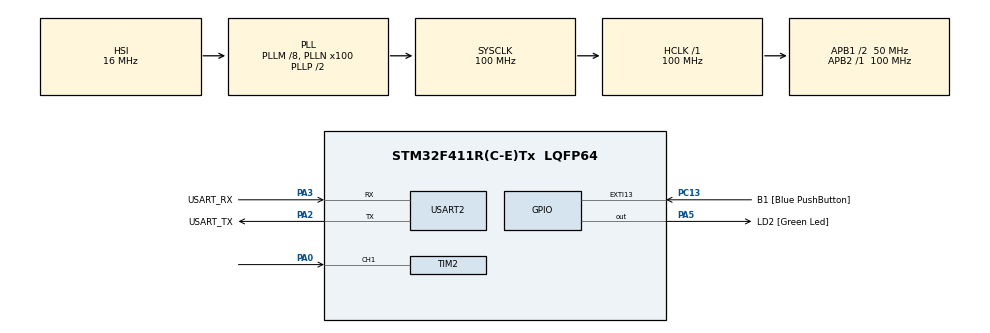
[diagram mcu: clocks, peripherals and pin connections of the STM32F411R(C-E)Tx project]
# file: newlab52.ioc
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Dma.Request0=TIM2_CH1
Dma.TIM2_CH1.0.Direction=DMA_PERIPH_TO_MEMORY
Dma.TIM2_CH1.0.FIFOMode=DMA_FIFOMODE_DISABLE
Dma.TIM2_CH1.0.Instance=DMA1_Stream5
Dma.TIM2_CH1.0.MemDataAlignment=DMA_MDATAALIGN_HALFWORD
Dma.TIM2_CH1.0.MemInc=DMA_MINC_ENABLE
Dma.TIM2_CH1.0.Mode=DMA_CIRCULAR
Dma.TIM2_CH1.0.PeriphDataAlignment=DMA_PDATAALIGN_HALFWORD
Dma.TIM2_CH1.0.PeriphInc=DMA_PINC_DISABLE
Dma.TIM2_CH1.0.Priority=DMA_PRIORITY_LOW
Mcu.Family=STM32F4
Mcu.Name=STM32F411R(C-E)Tx
Mcu.Package=LQFP64
NVIC.DMA1_Stream5_IRQn=true\:0\:0\:false\:false\:true\:false\:true
NVIC.PriorityGroup=NVIC_PRIORITYGROUP_0
NVIC.TIM5_IRQn=true\:0\:0\:false\:false\:true\:true\:true
PA0-WKUP.Signal=S_TIM2_CH1_ETR
PA13.GPIO_Label=TMS
PA13.Mode=Serial_Wire
PA13.Signal=SYS_JTMS-SWDIO
PA14.GPIO_Label=TCK
PA14.Mode=Serial_Wire
PA14.Signal=SYS_JTCK-SWCLK
PA2.GPIO_Label=USART_TX
PA2.Mode=Asynchronous
PA2.Signal=USART2_TX
PA3.GPIO_Label=USART_RX
PA3.Mode=Asynchronous
PA3.Signal=USART2_RX
PA5.GPIO_Label=LD2 [Green Led]
PA5.Signal=GPIO_Output
PB3.GPIO_Label=SWO
PB3.Signal=SYS_JTDO-SWO
PC13-ANTI_TAMP.GPIO_Label=B1 [Blue PushButton]
PC13-ANTI_TAMP.GPIO_ModeDefaultEXTI=GPIO_MODE_IT_FALLING
PC13-ANTI_TAMP.Signal=GPXTI13
PC14-OSC32_IN.Mode=LSE-External-Oscillator
PC14-OSC32_IN.Signal=RCC_OSC32_IN
PC15-OSC32_OUT.Mode=LSE-External-Oscillator
PC15-OSC32_OUT.Signal=RCC_OSC32_OUT
PH0\ -\ OSC_IN.Mode=HSE-External-Clock-Source
PH0\ -\ OSC_IN.Signal=RCC_OSC_IN
PH1\ -\ OSC_OUT.Mode=HSE-External-Clock-Source
PH1\ -\ OSC_OUT.Signal=RCC_OSC_OUT
ProjectManager.HeapSize=0x200
ProjectManager.StackSize=0x400
ProjectManager.TargetToolchain=STM32CubeIDE
RCC.48MHZClocksFreq_Value=50000000
RCC.AHBFreq_Value=100000000
RCC.APB1CLKDivider=RCC_HCLK_DIV2
RCC.APB1Freq_Value=50000000
RCC.APB1TimFreq_Value=100000000
RCC.APB2Freq_Value=100000000
RCC.APB2TimFreq_Value=100000000
RCC.CortexFreq_Value=100000000
RCC.FLatency-AdvancedSettings=FLASH_LATENCY_3
RCC.HCLKFreq_Value=100000000
RCC.HSE_VALUE=8000000
RCC.HSI_VALUE=16000000
RCC.PLLM=8
RCC.PLLN=100
RCC.SYSCLKFreq_VALUE=100000000
RCC.SYSCLKSource=RCC_SYSCLKSOURCE_PLLCLK
RCC.VCOOutputFreq_Value=200000000
SH.S_TIM2_CH1_ETR.0=TIM2_CH1,Input_Capture1_from_TI1
TIM2.Channel-Input_Capture1_from_TI1=TIM_CHANNEL_1
TIM2.Prescaler=99
TIM5.Prescaler=99
USART2.VirtualMode=VM_ASYNC
VP_TIM2_VS_ClockSourceINT.Mode=Internal
VP_TIM5_VS_ClockSourceINT.Mode=Internal
board=NUCLEO-F411RE

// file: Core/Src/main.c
/* USER CODE BEGIN Header */
/* USER CODE END Header */
#include "main.h"

/* USER CODE BEGIN PD */
#define CAPTURENUM 16
/* USER CODE END PD */

TIM_HandleTypeDef htim2;
TIM_HandleTypeDef htim5;
DMA_HandleTypeDef hdma_tim2_ch1;

UART_HandleTypeDef huart2;

/* USER CODE BEGIN PV */
uint16_t capturedata[CAPTURENUM] = { 0 };
//diff time of capture data
int32_t DiffTime[CAPTURENUM-1] = { 0 };
//Mean difftime
float MeanTime =0;
uint64_t _micros =0;
uint64_t micros();
void encoderSpeedReaderCycle();
uint64_t timestamp = 0;
uint64_t i=0;
float PWM = 0;
/* USER CODE END PV */

void SystemClock_Config(void);
static void MX_GPIO_Init(void);
static void MX_DMA_Init(void);
static void MX_USART2_UART_Init(void);
static void MX_TIM2_Init(void);
static void MX_TIM5_Init(void);

int main(void)
{

  /* MCU Configuration--------------------------------------------------------*/

  /* Reset of all peripherals, Initializes the Flash interface and the Systick. */
  HAL_Init();

  /* Configure the system clock */
  SystemClock_Config();

  /* Initialize all configured peripherals */
  MX_GPIO_Init();
  MX_DMA_Init();
  MX_USART2_UART_Init();
  MX_TIM2_Init();
  MX_TIM5_Init();
  /* USER CODE BEGIN 2 */
  HAL_TIM_Base_Start_IT(&htim5);
//  HAL_TIM_Base_Start(&htim2);
  	HAL_TIM_IC_Start_DMA(&htim2, TIM_CHANNEL_1, (uint32_t*) &capturedata,CAPTURENUM);

  /* USER CODE END 2 */

  /* Infinite loop */
  /* USER CODE BEGIN WHILE */
  while(1){
	    encoderSpeedReaderCycle();
	    if(micros()-timestamp > 100000){
	  	  timestamp = micros();
	  	  HAL_GPIO_TogglePin(LD2_GPIO_Port,LD2_Pin);
	    }

  }

    /* USER CODE END WHILE */

}

void SystemClock_Config(void)
{
  RCC_OscInitTypeDef RCC_OscInitStruct = {0};
  RCC_ClkInitTypeDef RCC_ClkInitStruct = {0};

  /** Configure the main internal regulator output voltage
  */
  __HAL_RCC_PWR_CLK_ENABLE();
  __HAL_PWR_VOLTAGESCALING_CONFIG(PWR_REGULATOR_VOLTAGE_SCALE1);
  /** Initializes the RCC Oscillators according to the specified parameters
  * in the RCC_OscInitTypeDef structure.
  */
  RCC_OscInitStruct.OscillatorType = RCC_OSCILLATORTYPE_HSI;
  RCC_OscInitStruct.HSIState = RCC_HSI_ON;
  RCC_OscInitStruct.HSICalibrationValue = RCC_HSICALIBRATION_DEFAULT;
  RCC_OscInitStruct.PLL.PLLState = RCC_PLL_ON;
  RCC_OscInitStruct.PLL.PLLSource = RCC_PLLSOURCE_HSI;
  RCC_OscInitStruct.PLL.PLLM = 8;
  RCC_OscInitStruct.PLL.PLLN = 100;
  RCC_OscInitStruct.PLL.PLLP = RCC_PLLP_DIV2;
  RCC_OscInitStruct.PLL.PLLQ = 4;
  if (HAL_RCC_OscConfig(&RCC_OscInitStruct) != HAL_OK)
  {
    Error_Handler();
  }
  /** Initializes the CPU, AHB and APB buses clocks
  */
  RCC_ClkInitStruct.ClockType = RCC_CLOCKTYPE_HCLK|RCC_CLOCKTYPE_SYSCLK
                              |RCC_CLOCKTYPE_PCLK1|RCC_CLOCKTYPE_PCLK2;
  RCC_ClkInitStruct.SYSCLKSource = RCC_SYSCLKSOURCE_PLLCLK;
  RCC_ClkInitStruct.AHBCLKDivider = RCC_SYSCLK_DIV1;
  RCC_ClkInitStruct.APB1CLKDivider = RCC_HCLK_DIV2;
  RCC_ClkInitStruct.APB2CLKDivider = RCC_HCLK_DIV1;

  if (HAL_RCC_ClockConfig(&RCC_ClkInitStruct, FLASH_LATENCY_3) != HAL_OK)
  {
    Error_Handler();
  }
}

static void MX_TIM2_Init(void)
{

  TIM_ClockConfigTypeDef sClockSourceConfig = {0};
  TIM_MasterConfigTypeDef sMasterConfig = {0};
  TIM_IC_InitTypeDef sConfigIC = {0};

  htim2.Instance = TIM2;
  htim2.Init.Prescaler = 99;
  htim2.Init.CounterMode = TIM_COUNTERMODE_UP;
  htim2.Init.Period = 4294967295;
  htim2.Init.ClockDivision = TIM_CLOCKDIVISION_DIV1;
  htim2.Init.AutoReloadPreload = TIM_AUTORELOAD_PRELOAD_DISABLE;
  if (HAL_TIM_Base_Init(&htim2) != HAL_OK)
  {
    Error_Handler();
  }
  sClockSourceConfig.ClockSource = TIM_CLOCKSOURCE_INTERNAL;
  if (HAL_TIM_ConfigClockSource(&htim2, &sClockSourceConfig) != HAL_OK)
  {
    Error_Handler();
  }
  if (HAL_TIM_IC_Init(&htim2) != HAL_OK)
  {
    Error_Handler();
  }
  sMasterConfig.MasterOutputTrigger = TIM_TRGO_RESET;
  sMasterConfig.MasterSlaveMode = TIM_MASTERSLAVEMODE_DISABLE;
  if (HAL_TIMEx_MasterConfigSynchronization(&htim2, &sMasterConfig) != HAL_OK)
  {
    Error_Handler();
  }
  sConfigIC.ICPolarity = TIM_INPUTCHANNELPOLARITY_RISING;
  sConfigIC.ICSelection = TIM_ICSELECTION_DIRECTTI;
  sConfigIC.ICPrescaler = TIM_ICPSC_DIV1;
  sConfigIC.ICFilter = 0;
  if (HAL_TIM_IC_ConfigChannel(&htim2, &sConfigIC, TIM_CHANNEL_1) != HAL_OK)
  {
    Error_Handler();
  }

}

static void MX_TIM5_Init(void)
{

  TIM_ClockConfigTypeDef sClockSourceConfig = {0};
  TIM_MasterConfigTypeDef sMasterConfig = {0};

  htim5.Instance = TIM5;
  htim5.Init.Prescaler = 99;
  htim5.Init.CounterMode = TIM_COUNTERMODE_UP;
  htim5.Init.Period = 4294967295;
  htim5.Init.ClockDivision = TIM_CLOCKDIVISION_DIV1;
  htim5.Init.AutoReloadPreload = TIM_AUTORELOAD_PRELOAD_DISABLE;
  if (HAL_TIM_Base_Init(&htim5) != HAL_OK)
  {
    Error_Handler();
  }
  sClockSourceConfig.ClockSource = TIM_CLOCKSOURCE_INTERNAL;
  if (HAL_TIM_ConfigClockSource(&htim5, &sClockSourceConfig) != HAL_OK)
  {
    Error_Handler();
  }
  sMasterConfig.MasterOutputTrigger = TIM_TRGO_RESET;
  sMasterConfig.MasterSlaveMode = TIM_MASTERSLAVEMODE_DISABLE;
  if (HAL_TIMEx_MasterConfigSynchronization(&htim5, &sMasterConfig) != HAL_OK)
  {
    Error_Handler();
  }

}

static void MX_USART2_UART_Init(void)
{

  huart2.Instance = USART2;
  huart2.Init.BaudRate = 115200;
  huart2.Init.WordLength = UART_WORDLENGTH_8B;
  huart2.Init.StopBits = UART_STOPBITS_1;
  huart2.Init.Parity = UART_PARITY_NONE;
  huart2.Init.Mode = UART_MODE_TX_RX;
  huart2.Init.HwFlowCtl = UART_HWCONTROL_NONE;
  huart2.Init.OverSampling = UART_OVERSAMPLING_16;
  if (HAL_UART_Init(&huart2) != HAL_OK)
  {
    Error_Handler();
  }

}

static void MX_DMA_Init(void)
{

  /* DMA controller clock enable */
  __HAL_RCC_DMA1_CLK_ENABLE();

  /* DMA interrupt init */
  /* DMA1_Stream5_IRQn interrupt configuration */
  HAL_NVIC_SetPriority(DMA1_Stream5_IRQn, 0, 0);
  HAL_NVIC_EnableIRQ(DMA1_Stream5_IRQn);

}

static void MX_GPIO_Init(void)
{
  GPIO_InitTypeDef GPIO_InitStruct = {0};

  /* GPIO Ports Clock Enable */
  __HAL_RCC_GPIOC_CLK_ENABLE();
  __HAL_RCC_GPIOH_CLK_ENABLE();
  __HAL_RCC_GPIOA_CLK_ENABLE();
  __HAL_RCC_GPIOB_CLK_ENABLE();

  /*Configure GPIO pin Output Level */
  HAL_GPIO_WritePin(LD2_GPIO_Port, LD2_Pin, GPIO_PIN_RESET);

  /*Configure GPIO pin : B1_Pin */
  GPIO_InitStruct.Pin = B1_Pin;
  GPIO_InitStruct.Mode = GPIO_MODE_IT_FALLING;
  GPIO_InitStruct.Pull = GPIO_NOPULL;
  HAL_GPIO_Init(B1_GPIO_Port, &GPIO_InitStruct);

  /*Configure GPIO pin : LD2_Pin */
  GPIO_InitStruct.Pin = LD2_Pin;
  GPIO_InitStruct.Mode = GPIO_MODE_OUTPUT_PP;
  GPIO_InitStruct.Pull = GPIO_NOPULL;
  GPIO_InitStruct.Speed = GPIO_SPEED_FREQ_LOW;
  HAL_GPIO_Init(LD2_GPIO_Port, &GPIO_InitStruct);

}

/* USER CODE BEGIN 4 */
void encoderSpeedReaderCycle() {
	//get DMA Position form number of data
	uint32_t CapPos =CAPTURENUM -  __HAL_DMA_GET_COUNTER(htim2.hdma[TIM_DMA_ID_CC1]);
	uint32_t sum = 0 ;

	//calculate diff from all buffer
	for(register int i=0 ;i < CAPTURENUM-1;i++)
	{
		DiffTime[i]  = capturedata[(CapPos+1+i)%CAPTURENUM]-capturedata[(CapPos+i)%CAPTURENUM];
		//time never go back, but timer can over flow , conpensate that
		if (DiffTime[i] <0)
		{
			DiffTime[i]+=4294967295;
		}
		//Sum all 15 Diff
		sum += DiffTime[i];
	}

	//mean all 15 Diff
	MeanTime =sum / (float)(CAPTURENUM-1);
	PWM = ((5000000/(64*MeanTime)));
}
uint64_t micros()
{
	return _micros + htim5.Instance->CNT;
}

void HAL_TIM_PeriodElapsedCallback(TIM_HandleTypeDef *htim)
{
 if(htim == &htim5)
 {
	 _micros += 4294967295;
 }
}
/* USER CODE END 4 */

void Error_Handler(void)
{
}

/************************ (C) COPYRIGHT STMicroelectronics *****END OF FILE****/
